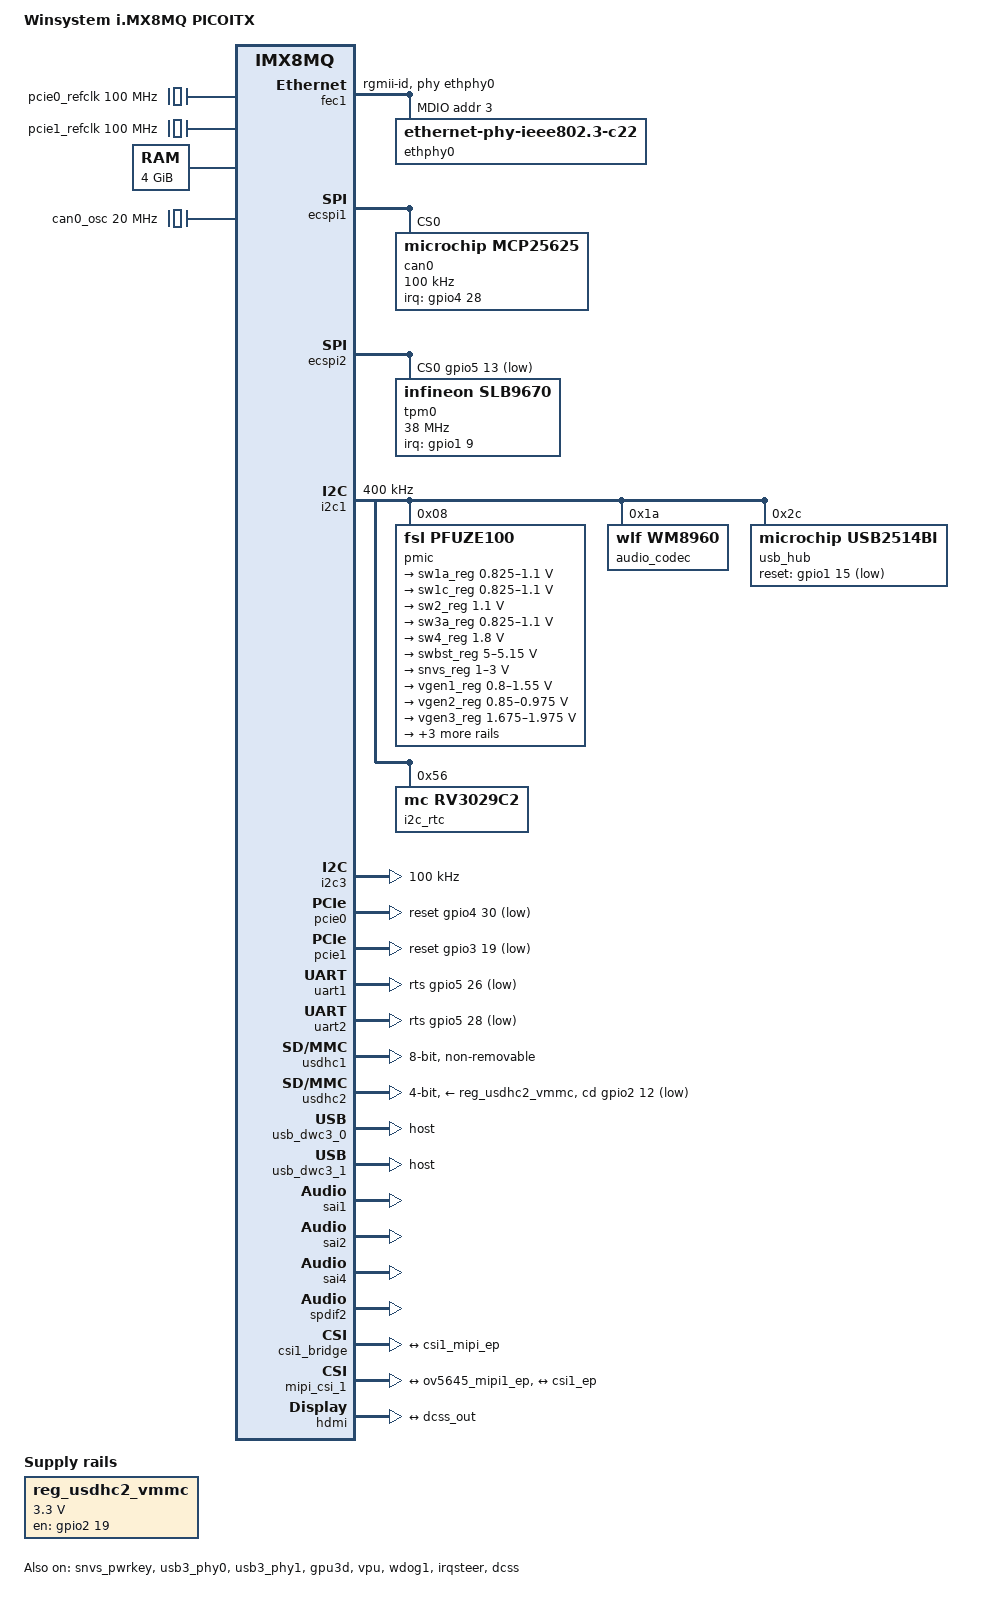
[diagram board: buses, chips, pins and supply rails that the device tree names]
/*
 * Copyright (C) 2016 Freescale Semiconductor, Inc.
 * Copyright 2017 NXP
 *
 * This program is free software; you can redistribute it and/or
 * modify it under the terms of the GNU General Public License
 * as published by the Free Software Foundation; either version 2
 * of the License, or (at your option) any later version.
 *
 * This program is distributed in the hope that it will be useful,
 * but WITHOUT ANY WARRANTY; without even the implied warranty of
 * MERCHANTABILITY or FITNESS FOR A PARTICULAR PURPOSE.  See the
 * GNU General Public License for more details.
 */

/dts-v1/;
#include <dt-bindings/usb/pd.h>
#include "imx8mq-itx-p-c444.dtsi"

/ {
        model = "Winsystem i.MX8MQ PICOITX";
        compatible = "fsl,imx8mq";


        dbg_console_settings: chosen {
                stdout-path = &uart1;
        };

        pcie0_refclk: pcie0-refclk {
                compatible = "fixed-clock";
                #clock-cells = <0>;
                clock-frequency = <100000000>;
        };

        pcie1_refclk: pcie0-refclk {
                compatible = "fixed-clock";
                #clock-cells = <0>;
                clock-frequency = <100000000>;
        };

	memory@40000000 {
		device_type = "memory";
		reg = <0x00000000 0x40000000 0x1 0x00000000>;
	};

	reserved-memory {
		#address-cells = <2>;
		#size-cells = <2>;
		ranges;

		rpmsg_reserved: rpmsg@0xb8000000 {
			no-map;
			reg = <0 0xb8000000 0 0x400000>;
		};
	};

	resmem: reserved-memory {
		#address-cells = <2>;
		#size-cells = <2>;
		/* cma region is provided by kernel command line as cma=<size>M */
		/delete-node/ linux,cma;
	};


//	Uncomment if using mcp251x on spi
	
        can0_osc: can0_osc {
                compatible = "fixed-clock";
                #clock-cells = <0>;
                clock-frequency  = <20000000>;
        };
	

        reg_usdhc2_vmmc: usdhc2_vmmc {
                pinctrl-names = "default";
                pinctrl-0 = <&pinctrl_reg_usdhc2>;
                compatible = "regulator-fixed";
                regulator-name = "VSD_3V3";
                regulator-min-microvolt = <3300000>;
                regulator-max-microvolt = <3300000>;
                gpio = <&gpio2 19 GPIO_ACTIVE_HIGH>;
                off-on-delay = <20000>;
                enable-active-high;
        };

        sound-wm8960 {
                compatible = "simple-audio-card";
                simple-audio-card,name = "wm8960-audio";
                simple-audio-card,format = "i2s";
                simple-audio-card,frame-master = <&cpudai>;
                simple-audio-card,bitclock-master = <&cpudai>;
                simple-audio-card,widgets =
                        "Line", "Line Out Jack",
			"Line", "Line in Jack",
			"Microphone", "Microphone Jack";

                simple-audio-card,routing =
                        "Line Out Jack", "HP_L",
                        "Line Out Jack", "HP_R",
			"Line in Jack", "LINPUT3",
			"Line in Jack", "RINPUT3",
			"Microphone Jack", "LINPUT2",
			"Microphone Jack", "RINPUT2";

                cpudai: simple-audio-card,cpu {
                        sound-dai = <&sai2>;
                        dai-tdm-slot-num = <2>;
                        dai-tdm-slot-width = <32>;
                };

                link_codec: simple-audio-card,codec {
                        sound-dai = <&audio_codec>;
                        clocks = <&clk IMX8MQ_CLK_SAI2_ROOT>;
                };
        };

};


&iomuxc {
        pinctrl-names = "default";
        pinctrl-0 = <&pinctrl_hog>;

        pinctrl_hog: hoggrp {
                fsl,pins = <
                        /* GPIO PINS for 8 pin GPIO connector */
                        MX8MQ_IOMUXC_GPIO1_IO00_GPIO1_IO0       0x19
                        MX8MQ_IOMUXC_GPIO1_IO01_GPIO1_IO1       0x19
                        MX8MQ_IOMUXC_GPIO1_IO03_GPIO1_IO3       0x19
                        MX8MQ_IOMUXC_GPIO1_IO05_GPIO1_IO5       0x19
                        MX8MQ_IOMUXC_GPIO1_IO06_GPIO1_IO6       0x19
                        MX8MQ_IOMUXC_GPIO1_IO07_GPIO1_IO7       0x19

                        /* STATUS LED */
                        MX8MQ_IOMUXC_SAI5_RXC_GPIO3_IO20        0x19
                        /* USER LED */
                        MX8MQ_IOMUXC_SPDIF_RX_GPIO5_IO4         0x19
                        MX8MQ_IOMUXC_GPIO1_IO10_GPIO1_IO10     0x19
                        MX8MQ_IOMUXC_GPIO1_IO11_GPIO1_IO11     0x19
                        MX8MQ_IOMUXC_GPIO1_IO14_GPIO1_IO14     0x19
                        MX8MQ_IOMUXC_SAI1_TXC_GPIO4_IO11        0x19

                >;
        };

        pinctrl_csi1_pwn: csi1_pwn_grp {
                fsl,pins = <
                        MX8MQ_IOMUXC_SAI5_MCLK_GPIO3_IO25       0x19
                >;
        };

        pinctrl_pmic: pmicgrp {
                fsl,pins = <
                        MX8MQ_IOMUXC_SAI1_MCLK_GPIO4_IO20       0x19
                >;
        };

        pinctrl_fec1: fec1grp {
                fsl,pins = <
                        MX8MQ_IOMUXC_ENET_MDC_ENET1_MDC         0x3
                        MX8MQ_IOMUXC_ENET_MDIO_ENET1_MDIO       0x23
                        MX8MQ_IOMUXC_ENET_TD3_ENET1_RGMII_TD3   0x1f
                        MX8MQ_IOMUXC_ENET_TD2_ENET1_RGMII_TD2   0x1f
                        MX8MQ_IOMUXC_ENET_TD1_ENET1_RGMII_TD1   0x1f
                        MX8MQ_IOMUXC_ENET_TD0_ENET1_RGMII_TD0   0x1f
                        MX8MQ_IOMUXC_ENET_RD3_ENET1_RGMII_RD3   0x91
                        MX8MQ_IOMUXC_ENET_RD2_ENET1_RGMII_RD2   0x91
                        MX8MQ_IOMUXC_ENET_RD1_ENET1_RGMII_RD1   0x91
                        MX8MQ_IOMUXC_ENET_RD0_ENET1_RGMII_RD0   0x91
                        MX8MQ_IOMUXC_ENET_TXC_ENET1_RGMII_TXC   0x1f
                        MX8MQ_IOMUXC_ENET_RXC_ENET1_RGMII_RXC   0x91
                        MX8MQ_IOMUXC_ENET_RX_CTL_ENET1_RGMII_RX_CTL 0x91
                        MX8MQ_IOMUXC_ENET_TX_CTL_ENET1_RGMII_TX_CTL 0x1f
                        MX8MQ_IOMUXC_SAI1_RXFS_GPIO4_IO0        0x19
                        MX8MQ_IOMUXC_SAI1_RXC_GPIO4_IO1         0x19
                >;
        };

        pinctrl_i2c1: i2c1grp {
                fsl,pins = <
                        MX8MQ_IOMUXC_I2C1_SCL_I2C1_SCL  0x4000007f
                        MX8MQ_IOMUXC_I2C1_SDA_I2C1_SDA  0x4000007f
                >;
        };

        pinctrl_i2c2: i2c2grp {
                fsl,pins = <
                        MX8MQ_IOMUXC_I2C2_SCL_I2C2_SCL  0x4000007f
                        MX8MQ_IOMUXC_I2C2_SDA_I2C2_SDA  0x4000007f
                >;
        };

        pinctrl_i2c3: i2c3grp {
                fsl,pins = <
                        MX8MQ_IOMUXC_I2C3_SCL_I2C3_SCL  0x4000007f
                        MX8MQ_IOMUXC_I2C3_SDA_I2C3_SDA  0x4000007f
                        /* I2C_GPIO_INT */
                        MX8MQ_IOMUXC_SAI3_TXFS_GPIO4_IO31       0x16
                >;
        };

        pinctrl_pcie0: pcie0grp {
                fsl,pins = <
                        MX8MQ_IOMUXC_I2C4_SCL_GPIO5_IO20        0x16
                        MX8MQ_IOMUXC_SAI3_RXC_GPIO4_IO29        0x16
                        MX8MQ_IOMUXC_SAI3_RXD_GPIO4_IO30        0x16
                        /* SMB_ALERT_N */
                        MX8MQ_IOMUXC_SAI3_TXD_GPIO5_IO1         0x16
                >;
        };

        pinctrl_pcie1: pcie1grp {
                fsl,pins = <
                        MX8MQ_IOMUXC_I2C4_SDA_GPIO5_IO21        0x16
                        MX8MQ_IOMUXC_SAI3_TXC_GPIO5_IO0         0x16
                        MX8MQ_IOMUXC_SAI5_RXFS_GPIO3_IO19       0x16
                        /* MPCIE_WAKE */
                        MX8MQ_IOMUXC_SAI1_TXFS_GPIO4_IO10       0x16
                >;
        };

        pinctrl_uart1: uart1grp {
                fsl,pins = <
                        MX8MQ_IOMUXC_UART1_RXD_UART1_DCE_RX     0x49
                        MX8MQ_IOMUXC_UART1_TXD_UART1_DCE_TX     0x49
			MX8MQ_IOMUXC_UART3_RXD_GPIO5_IO26	0x49
			MX8MQ_IOMUXC_UART3_TXD_GPIO5_IO27	0x49
                >;
        };

        pinctrl_uart2: uart2grp {
                fsl,pins = <
                        MX8MQ_IOMUXC_UART2_RXD_UART2_DCE_RX     0x49
                        MX8MQ_IOMUXC_UART2_TXD_UART2_DCE_TX     0x49
                        MX8MQ_IOMUXC_UART4_RXD_GPIO5_IO28       0x49
			MX8MQ_IOMUXC_UART4_TXD_GPIO5_IO29       0x49
                >;
        };

        pinctrl_serial1_gpio: serial1grpgpio {
                fsl,pins = <
                        MX8MQ_IOMUXC_NAND_CE2_B_GPIO3_IO3       0x59
                        MX8MQ_IOMUXC_NAND_CE3_B_GPIO3_IO4       0x19
                        MX8MQ_IOMUXC_NAND_DQS_GPIO3_IO14        0x19
                        MX8MQ_IOMUXC_NAND_RE_B_GPIO3_IO15       0x19
                        MX8MQ_IOMUXC_NAND_READY_B_GPIO3_IO16    0x19
                        MX8MQ_IOMUXC_NAND_WE_B_GPIO3_IO17       0x19
                        MX8MQ_IOMUXC_NAND_WP_B_GPIO3_IO18       0x19
                >;
        };


        pinctrl_serial2_gpio: serial2grpgpio {
                fsl,pins = <
                        MX8MQ_IOMUXC_NAND_DATA07_GPIO3_IO13     0x59
                        MX8MQ_IOMUXC_NAND_DATA06_GPIO3_IO12     0x19
                        MX8MQ_IOMUXC_NAND_DATA05_GPIO3_IO11     0x19
                        MX8MQ_IOMUXC_NAND_DATA04_GPIO3_IO10     0x19
                        MX8MQ_IOMUXC_NAND_DATA03_GPIO3_IO9      0x19
                        MX8MQ_IOMUXC_NAND_DATA02_GPIO3_IO8      0x19
                        MX8MQ_IOMUXC_NAND_DATA01_GPIO3_IO7      0x19
                >;
        };

        pinctrl_usdhc1: usdhc1grp {
                fsl,pins = <
                        MX8MQ_IOMUXC_SD1_CLK_USDHC1_CLK         0x83
                        MX8MQ_IOMUXC_SD1_CMD_USDHC1_CMD         0xc3
                        MX8MQ_IOMUXC_SD1_DATA0_USDHC1_DATA0     0xc3
                        MX8MQ_IOMUXC_SD1_DATA1_USDHC1_DATA1     0xc3
                        MX8MQ_IOMUXC_SD1_DATA2_USDHC1_DATA2     0xc3
                        MX8MQ_IOMUXC_SD1_DATA3_USDHC1_DATA3     0xc3
                        MX8MQ_IOMUXC_SD1_DATA4_USDHC1_DATA4     0xc3
                        MX8MQ_IOMUXC_SD1_DATA5_USDHC1_DATA5     0xc3
                        MX8MQ_IOMUXC_SD1_DATA6_USDHC1_DATA6     0xc3
                        MX8MQ_IOMUXC_SD1_DATA7_USDHC1_DATA7     0xc3
                        MX8MQ_IOMUXC_SD1_STROBE_USDHC1_STROBE   0x83
                        MX8MQ_IOMUXC_SD1_RESET_B_USDHC1_RESET_B 0xc1
                >;
        };

        pinctrl_usdhc1_100mhz: usdhc1grp100mhz {
                fsl,pins = <
                        MX8MQ_IOMUXC_SD1_CLK_USDHC1_CLK         0x85
                        MX8MQ_IOMUXC_SD1_CMD_USDHC1_CMD         0xc5
                        MX8MQ_IOMUXC_SD1_DATA0_USDHC1_DATA0     0xc5
                        MX8MQ_IOMUXC_SD1_DATA1_USDHC1_DATA1     0xc5
                        MX8MQ_IOMUXC_SD1_DATA2_USDHC1_DATA2     0xc5
                        MX8MQ_IOMUXC_SD1_DATA3_USDHC1_DATA3     0xc5
                        MX8MQ_IOMUXC_SD1_DATA4_USDHC1_DATA4     0xc5
                        MX8MQ_IOMUXC_SD1_DATA5_USDHC1_DATA5     0xc5
                        MX8MQ_IOMUXC_SD1_DATA6_USDHC1_DATA6     0xc5
                        MX8MQ_IOMUXC_SD1_DATA7_USDHC1_DATA7     0xc5
                        MX8MQ_IOMUXC_SD1_STROBE_USDHC1_STROBE   0x85
                        MX8MQ_IOMUXC_SD1_RESET_B_USDHC1_RESET_B 0xc1
                >;
        };

        pinctrl_usdhc1_200mhz: usdhc1grp200mhz {
                fsl,pins = <
                        MX8MQ_IOMUXC_SD1_CLK_USDHC1_CLK         0x87
                        MX8MQ_IOMUXC_SD1_CMD_USDHC1_CMD         0xc7
                        MX8MQ_IOMUXC_SD1_DATA0_USDHC1_DATA0     0xc7
                        MX8MQ_IOMUXC_SD1_DATA1_USDHC1_DATA1     0xc7
                        MX8MQ_IOMUXC_SD1_DATA2_USDHC1_DATA2     0xc7
                        MX8MQ_IOMUXC_SD1_DATA3_USDHC1_DATA3     0xc7
                        MX8MQ_IOMUXC_SD1_DATA4_USDHC1_DATA4     0xc7
                        MX8MQ_IOMUXC_SD1_DATA5_USDHC1_DATA5     0xc7
                        MX8MQ_IOMUXC_SD1_DATA6_USDHC1_DATA6     0xc7
                        MX8MQ_IOMUXC_SD1_DATA7_USDHC1_DATA7     0xc7
                        MX8MQ_IOMUXC_SD1_STROBE_USDHC1_STROBE   0x87
                        MX8MQ_IOMUXC_SD1_RESET_B_USDHC1_RESET_B 0xc1
                >;
        };
	pinctrl_reg_usdhc2: regusdhc2grpgpio {
		fsl,pins = <
			MX8MQ_IOMUXC_SD2_RESET_B_GPIO2_IO19             0x41
		>;
        };

        pinctrl_usdhc2_gpio: usdhc2cdgpio {
                fsl,pins = <
                        MX8MQ_IOMUXC_SD2_CD_B_GPIO2_IO12        0x41
                >;
        };

        pinctrl_usdhc2: usdhc2grp {
                fsl,pins = <
                        MX8MQ_IOMUXC_SD2_CLK_USDHC2_CLK         0x83
                        MX8MQ_IOMUXC_SD2_CMD_USDHC2_CMD         0xc3
                        MX8MQ_IOMUXC_SD2_DATA0_USDHC2_DATA0     0xc3
                        MX8MQ_IOMUXC_SD2_DATA1_USDHC2_DATA1     0xc3
                        MX8MQ_IOMUXC_SD2_DATA2_USDHC2_DATA2     0xc3
                        MX8MQ_IOMUXC_SD2_DATA3_USDHC2_DATA3     0xc3
                        MX8MQ_IOMUXC_GPIO1_IO04_USDHC2_VSELECT  0xc1
                >;
        };

        pinctrl_usdhc2_100mhz: usdhc2grp100mhz {
                fsl,pins = <
                        MX8MQ_IOMUXC_SD2_CLK_USDHC2_CLK         0x85
                        MX8MQ_IOMUXC_SD2_CMD_USDHC2_CMD         0xc5
                        MX8MQ_IOMUXC_SD2_DATA0_USDHC2_DATA0     0xc5
                        MX8MQ_IOMUXC_SD2_DATA1_USDHC2_DATA1     0xc5
                        MX8MQ_IOMUXC_SD2_DATA2_USDHC2_DATA2     0xc5
                        MX8MQ_IOMUXC_SD2_DATA3_USDHC2_DATA3     0xc5
                        MX8MQ_IOMUXC_GPIO1_IO04_USDHC2_VSELECT  0xc1
                >;
        };

        pinctrl_usdhc2_200mhz: usdhc2grp200mhz {
                fsl,pins = <
                        MX8MQ_IOMUXC_SD2_CLK_USDHC2_CLK         0x87
                        MX8MQ_IOMUXC_SD2_CMD_USDHC2_CMD         0xc7
                        MX8MQ_IOMUXC_SD2_DATA0_USDHC2_DATA0     0xc7
                        MX8MQ_IOMUXC_SD2_DATA1_USDHC2_DATA1     0xc7
                        MX8MQ_IOMUXC_SD2_DATA2_USDHC2_DATA2     0xc7
                        MX8MQ_IOMUXC_SD2_DATA3_USDHC2_DATA3     0xc7
                        MX8MQ_IOMUXC_GPIO1_IO04_USDHC2_VSELECT  0xc1
                >;
        };

        pinctrl_sai1: sai1grp {
                fsl,pins = <
                        MX8MQ_IOMUXC_SAI1_TXD0_SAI1_TX_DATA0    0xd6
                        MX8MQ_IOMUXC_SAI1_TXD1_SAI1_TX_DATA1    0xd6
                        MX8MQ_IOMUXC_SAI1_TXD2_SAI1_TX_DATA2    0xd6
                        MX8MQ_IOMUXC_SAI1_TXD3_SAI1_TX_DATA3    0xd6
                        MX8MQ_IOMUXC_SAI1_TXD4_SAI1_TX_DATA4    0xd6
                        MX8MQ_IOMUXC_SAI1_TXD5_SAI1_TX_DATA5    0xd6
                        MX8MQ_IOMUXC_SAI1_TXD6_SAI1_TX_DATA6    0xd6
                        MX8MQ_IOMUXC_SAI1_TXD7_SAI1_TX_DATA7    0xd6
                        MX8MQ_IOMUXC_SAI1_RXD0_SAI1_RX_DATA0    0xd6
                        MX8MQ_IOMUXC_SAI1_RXD1_SAI1_RX_DATA1    0xd6
                        MX8MQ_IOMUXC_SAI1_RXD2_SAI1_RX_DATA2    0xd6
                        MX8MQ_IOMUXC_SAI1_RXD3_SAI1_RX_DATA3    0xd6
                        MX8MQ_IOMUXC_SAI1_RXD4_SAI1_RX_DATA4    0xd6
                        MX8MQ_IOMUXC_SAI1_RXD5_SAI1_RX_DATA5    0xd6
                        MX8MQ_IOMUXC_SAI1_RXD6_SAI1_RX_DATA6    0xd6
                        MX8MQ_IOMUXC_SAI1_RXD7_SAI1_RX_DATA7    0xd6
                >;
        };

        pinctrl_sai2: sai2grp {
                fsl,pins = <
                        MX8MQ_IOMUXC_SAI2_TXFS_SAI2_TX_SYNC     0xd6
                        MX8MQ_IOMUXC_SAI2_TXC_SAI2_TX_BCLK      0xd6
                        MX8MQ_IOMUXC_SAI2_MCLK_SAI2_MCLK        0xd6
                        MX8MQ_IOMUXC_SAI2_TXD0_SAI2_TX_DATA0    0xd6
                        MX8MQ_IOMUXC_SAI2_RXD0_SAI2_RX_DATA0    0xd6
                        MX8MQ_IOMUXC_SAI2_RXFS_SAI2_RX_SYNC     0xd6
                >;
        };

        pinctrl_wdog: wdoggrp {
                fsl,pins = <
                        MX8MQ_IOMUXC_GPIO1_IO02_WDOG1_WDOG_B 0xc6
                >;
        };

        pinctrl_ecspi1: ecspi1grp {
                fsl,pins = <
                        MX8MQ_IOMUXC_ECSPI1_MISO_ECSPI1_MISO    0x16
                        MX8MQ_IOMUXC_ECSPI1_MOSI_ECSPI1_MOSI    0x16
                        MX8MQ_IOMUXC_ECSPI1_SCLK_ECSPI1_SCLK    0x16
                        MX8MQ_IOMUXC_ECSPI1_SS0_ECSPI1_SS0      0x19
                        MX8MQ_IOMUXC_SAI3_RXFS_GPIO4_IO28       0x16
                >;
        };

	pinctrl_ecspi2: ecspi2grp {
		fsl,pins = <
			MX8MQ_IOMUXC_ECSPI2_MOSI_ECSPI2_MOSI	0x19
			MX8MQ_IOMUXC_ECSPI2_MISO_ECSPI2_MISO	0x19
			MX8MQ_IOMUXC_ECSPI2_SCLK_ECSPI2_SCLK	0x19
			MX8MQ_IOMUXC_ECSPI2_SS0_GPIO5_IO13	0x19
			/* GPIO_PIRQ */
			MX8MQ_IOMUXC_GPIO1_IO09_GPIO1_IO9	0x17059
			/* GPIO_RST */
			MX8MQ_IOMUXC_GPIO1_IO08_GPIO1_IO8	0x59
		>;
	};

        pinctrl_usb3: usb3grp {
                fsl,pins = <
                        /* USB3.0_PWR_EN */
                        MX8MQ_IOMUXC_GPIO1_IO12_GPIO1_IO12      0x59
                        /* USB_3.0_OC */
                        MX8MQ_IOMUXC_GPIO1_IO13_GPIO1_IO13      0x16
                >;
        };

        pinctrl_usb_hub: usbhubgrp {
                fsl,pins = <
                        /* USB_HUB_EN */
                        MX8MQ_IOMUXC_GPIO1_IO15_GPIO1_IO15      0x59
                >;
        };
};

enet_phy: &fec1 {
        pinctrl-names = "default";
        pinctrl-0 = <&pinctrl_fec1>;
        phy-mode = "rgmii-id";
        phy-handle = <&ethphy0>;
        fsl,magic-packet;
        status = "okay";

        mdio {
                #address-cells = <1>;
                #size-cells = <0>;

                ethphy0: ethernet-phy@3 {
                        compatible = "ethernet-phy-ieee802.3-c22";
                        reg = <3>;
                };
        };
};

spi: &ecspi1 {
	#address-cells = <1>;
	#size-cells = <0>;
        fsl,spi-num-chipselects = <1>;
	//cs-gpios = <&gpio5 9 GPIO_ACTIVE_HIGH>;
        pinctrl-names = "default";
        pinctrl-0 = <&pinctrl_ecspi1>;
        status = "okay";
	
        can0: can@0 {
		#address-cells = <1>;
                #size-cells = <1>;
                reg = <0>;
                compatible = "microchip,mcp25625";
                spi-max-frequency = <100000>;
                interrupt-parent = <&gpio4>;
                interrupts = <28 0x2>;
                clocks = <&can0_osc>;
		status = "okay";
        };
	
	
};

tpm_dev: &ecspi2 {
	#address-cells = <1>;
	#size-cells = <0>;
        fsl,spi-num-chipselects = <1>;
	cs-gpios = <&gpio5 13 GPIO_ACTIVE_LOW>;
	pinctrl-names = "default";
	pinctrl-0 = <&pinctrl_ecspi2>;
	status = "okay";
	tpm0: slb9670@0 {
		compatible = "infineon,slb9670";
		#address-cells = <1>;
                #size-cells = <1>;
		reg = <0>;
		spi-max-frequency = <38000000>;
		interrupt-parent = <&gpio1>;
		interrupts = <9 IRQ_TYPE_LEVEL_LOW>;
		status = "okay";
	};
};

&i2c1 {
        clock-frequency = <400000>;
        pinctrl-names = "default";
        pinctrl-0 = <&pinctrl_i2c1>;
        status = "okay";

        pmic: pfuze100@8 {
                compatible = "fsl,pfuze100";
                pinctrl-names = "default";
                pinctrl-0 = <&pinctrl_pmic>;
                reg = <0x08>;

                regulators {
                        sw1a_reg: sw1ab {
                                regulator-min-microvolt = <825000>;
                                regulator-max-microvolt = <1100000>;
                        };

                        sw1c_reg: sw1c {
                                regulator-min-microvolt = <825000>;
                                regulator-max-microvolt = <1100000>;
                        };

                        sw2_reg: sw2 {
                                regulator-min-microvolt = <1100000>;
                                regulator-max-microvolt = <1100000>;
                                regulator-always-on;
                        };

                        sw3a_reg: sw3ab {
                                regulator-min-microvolt = <825000>;
                                regulator-max-microvolt = <1100000>;
                                regulator-always-on;
                        };

                        sw4_reg: sw4 {
                                regulator-min-microvolt = <1800000>;
                                regulator-max-microvolt = <1800000>;
                                regulator-always-on;
                        };

                        swbst_reg: swbst {
                                regulator-min-microvolt = <5000000>;
                                regulator-max-microvolt = <5150000>;
                        };

                        snvs_reg: vsnvs {
                                regulator-min-microvolt = <1000000>;
                                regulator-max-microvolt = <3000000>;
                                regulator-always-on;
                        };

                        vref_reg: vrefddr {
                                regulator-always-on;
                        };

                        vgen1_reg: vgen1 {
                                regulator-min-microvolt = <800000>;
                                regulator-max-microvolt = <1550000>;
                        };

                        vgen2_reg: vgen2 {
                                regulator-min-microvolt = <850000>;
                                regulator-max-microvolt = <975000>;
                                regulator-always-on;
                        };

                        vgen3_reg: vgen3 {
                                regulator-min-microvolt = <1675000>;
                                regulator-max-microvolt = <1975000>;
                                regulator-always-on;
                        };

                        vgen4_reg: vgen4 {
                                regulator-min-microvolt = <1625000>;
                                regulator-max-microvolt = <1875000>;
                                regulator-always-on;
                        };

                        vgen5_reg: vgen5 {
                                regulator-min-microvolt = <3075000>;
                                regulator-max-microvolt = <3625000>;
                                regulator-always-on;
                        };

                        vgen6_reg: vgen6 {
                                regulator-min-microvolt = <1800000>;
                                regulator-max-microvolt = <3300000>;
                        };
                };
        };

        audio_codec: wm8960@1a {
		#sound-dai-cells = <0>;
                compatible = "wlf,wm8960";
                reg = <0x1a>;
                wlf,shared-lrclk;
        };

        usb_hub: usb2514bi@2c {
                compatible = "microchip,usb2514bi";
                pinctrl-names = "default";
                pinctrl-0 = <&pinctrl_usb_hub>;
                reset-gpios = <&gpio1 15 GPIO_ACTIVE_LOW>;
                reg = <0x2c>;
        };

	i2c_rtc: rtc@56 {
                compatible = "mc,rv3029c2";
                reg = <0x56>;
        };

};

&i2c2 {
        clock-frequency = <100000>;
        pinctrl-names = "default";
        pinctrl-0 = <&pinctrl_i2c2>;
        status = "disabled";
};

&i2c3 {
        clock-frequency = <100000>;
        pinctrl-names = "default";
        pinctrl-0 = <&pinctrl_i2c3>;
        status = "okay";

        ov5645_mipi: ov5645_mipi@3c {
                compatible = "ovti,ov5645";
                reg = <0x3c>;
                clocks = <&clk 200>;
                clock-names = "xclk";
                clock-frequency = <23880000>;
                pinctrl-names = "default";
                pinctrl-0 = <&pinctrl_csi1_pwn>;
                reset-gpios = <&gpio3 25 GPIO_ACTIVE_LOW>;
		status = "disabled";
                port {
                        ov5645_mipi1_ep: endpoint {
                                clock-lanes = <1>;
                                data-lanes = <0 2>;
                                remote-endpoint = <&mipi1_sensor_ep>;
                        };
                };
        };
};

i210_enet_controller: &pcie0{
        pinctrl-names = "default";
        pinctrl-0 = <&pinctrl_pcie0>;
        clkreq-gpio = <&gpio5 20 GPIO_ACTIVE_LOW>;
        disable-gpio = <&gpio4 29 GPIO_ACTIVE_LOW>;
        reset-gpio = <&gpio4 30 GPIO_ACTIVE_LOW>;
        clocks = <&clk IMX8MQ_CLK_PCIE1_ROOT>,
                 <&clk IMX8MQ_CLK_PCIE1_AUX>,
                 <&clk IMX8MQ_CLK_PCIE1_PHY>,
                 <&pcie0_refclk>;
        clock-names = "pcie", "pcie_aux", "pcie_phy", "pcie_bus";
        hard-wired = <1>;
        status = "okay";
};

mini_pcie_intf: &pcie1{
        pinctrl-names = "default";
        pinctrl-0 = <&pinctrl_pcie1>;
        clkreq-gpio = <&gpio5 21 GPIO_ACTIVE_LOW>;
        disable-gpio = <&gpio5 0 GPIO_ACTIVE_LOW>;
        reset-gpio = <&gpio3 19 GPIO_ACTIVE_LOW>;
        clocks = <&clk IMX8MQ_CLK_PCIE2_ROOT>,
                 <&clk IMX8MQ_CLK_PCIE2_AUX>,
                 <&clk IMX8MQ_CLK_PCIE2_PHY>,
                 <&pcie1_refclk>;
        clock-names = "pcie", "pcie_aux", "pcie_phy", "pcie_bus";
        status = "okay";
};

&pgc_gpu {
        power-supply = <&sw1a_reg>;
};

&pgc_vpu {
        power-supply = <&sw1c_reg>;
};

&snvs_pwrkey {
        status = "okay";
};

multi_protocol_serial2: &uart1 {
	pinctrl-names = "default";
	pinctrl-0 = <&pinctrl_uart1>, <&pinctrl_serial2_gpio>;
	assigned-clocks = <&clk IMX8MQ_CLK_UART1>;
	assigned-clock-parents = <&clk IMX8MQ_CLK_25M>;
	cts-gpios = <&gpio5 27 GPIO_ACTIVE_LOW>;
	rts-gpios = <&gpio5 26 GPIO_ACTIVE_LOW>;
	status = "okay";
};

multi_protocol_serial1: &uart2 {
        pinctrl-names = "default";
        pinctrl-0 = <&pinctrl_uart2>, <&pinctrl_serial1_gpio>;
        assigned-clocks = <&clk IMX8MQ_CLK_UART2>;
        assigned-clock-parents = <&clk IMX8MQ_CLK_25M>;
	cts-gpios = <&gpio5 29 GPIO_ACTIVE_LOW>;
	rts-gpios = <&gpio5 28 GPIO_ACTIVE_LOW>;
        status = "okay";
};

emmc: &usdhc1 {
        pinctrl-names = "default", "state_100mhz", "state_200mhz";
        pinctrl-0 = <&pinctrl_usdhc1>;
        pinctrl-1 = <&pinctrl_usdhc1_100mhz>;
        pinctrl-2 = <&pinctrl_usdhc1_200mhz>;
        vqmmc-supply = <&sw4_reg>;
        bus-width = <8>;
        non-removable;
        no-sd;
        no-sdio;
        status = "okay";
};

micro_sd: &usdhc2 {
        pinctrl-names = "default", "state_100mhz", "state_200mhz";
        pinctrl-0 = <&pinctrl_usdhc2>, <&pinctrl_usdhc2_gpio>;
        pinctrl-1 = <&pinctrl_usdhc2_100mhz>, <&pinctrl_usdhc2_gpio>;
        pinctrl-2 = <&pinctrl_usdhc2_200mhz>, <&pinctrl_usdhc2_gpio>;
        bus-width = <4>;
        cd-gpios = <&gpio2 12 GPIO_ACTIVE_LOW>;
        vmmc-supply = <&reg_usdhc2_vmmc>;
        status = "okay";
};

&usb3_phy0 {
        status = "okay";
};

usb_3: &usb_dwc3_0 {
        pinctrl-names = "default";
        pinctrl-0 = <&pinctrl_usb3>;
        snps,dis-u1-entry-quirk;
        snps,dis-u2-entry-quirk;
        status = "okay";
        dr_mode = "host";
};

&usb3_phy1 {
        status = "okay";
};

&usb_dwc3_1 {
        status = "okay";
        dr_mode = "host";
};

&sai1 {
        pinctrl-names = "default";
        pinctrl-0 = <&pinctrl_sai1>;
        assigned-clocks = <&clk IMX8MQ_CLK_SAI1>;
        assigned-clock-parents = <&clk IMX8MQ_AUDIO_PLL1_OUT>;
        assigned-clock-rates = <49152000>;
        clocks = <&clk IMX8MQ_CLK_SAI1_IPG>, <&clk IMX8MQ_CLK_DUMMY>,
                <&clk IMX8MQ_CLK_SAI1_ROOT>, <&clk IMX8MQ_CLK_DUMMY>,
                <&clk IMX8MQ_CLK_DUMMY>, <&clk IMX8MQ_AUDIO_PLL1_OUT>,
                <&clk IMX8MQ_AUDIO_PLL2_OUT>;
        clock-names = "bus", "mclk0", "mclk1", "mclk2", "mclk3", "pll8k", "pll11k";
        status = "okay";
};

&sai2 {
        pinctrl-names = "default";
        pinctrl-0 = <&pinctrl_sai2>;
        assigned-clocks = <&clk IMX8MQ_CLK_SAI2>;
        assigned-clock-parents = <&clk IMX8MQ_AUDIO_PLL1_OUT>;
        assigned-clock-rates = <24576000>;
        status = "okay";
};

&sai4 {
        assigned-clocks = <&clk IMX8MQ_CLK_SAI4>;
        assigned-clock-parents = <&clk IMX8MQ_AUDIO_PLL1_OUT>;
        assigned-clock-rates = <24576000>;
        clocks = <&clk IMX8MQ_CLK_SAI4_IPG>, <&clk IMX8MQ_CLK_DUMMY>,
                <&clk IMX8MQ_CLK_SAI4_ROOT>, <&clk IMX8MQ_CLK_DUMMY>,
                <&clk IMX8MQ_CLK_DUMMY>, <&clk IMX8MQ_AUDIO_PLL1_OUT>,
                <&clk IMX8MQ_AUDIO_PLL2_OUT>;
        clock-names = "bus", "mclk0", "mclk1", "mclk2", "mclk3", "pll8k", "pll11k";
        status = "okay";
};

&spdif2 {
        assigned-clocks = <&clk IMX8MQ_CLK_SPDIF2>;
        assigned-clock-parents = <&clk IMX8MQ_AUDIO_PLL1_OUT>;
        assigned-clock-rates = <24576000>;
        status = "okay";
};

&gpu3d {
        status = "okay";
};

&vpu {
        status = "okay";
};

&wdog1 {
        pinctrl-names = "default";
        pinctrl-0 = <&pinctrl_wdog>;
        fsl,ext-reset-output;
	timeout-sec = <60>;
        status = "okay";
};

&irqsteer {
        status = "okay";
};

&dcss {
        status = "okay";

        port@0 {
                dcss_out: endpoint {
                          remote-endpoint = <&hdmi_in>;
                };
        };
};

camera_bridge: &csi1_bridge {
        fsl,mipi-mode;
        fsl,two-8bit-sensor-mode;
        status = "okay";

        port {
                csi1_ep: endpoint {
                        remote-endpoint = <&csi1_mipi_ep>;
                };
        };
};

camera: &mipi_csi_1 {
        #address-cells = <1>;
        #size-cells = <0>;
        status = "okay";
        port {
                mipi1_sensor_ep: endpoint@0 {
                        remote-endpoint = <&ov5645_mipi1_ep>;
                        data-lanes = <1 2>;
                };

                csi1_mipi_ep: endpoint@1 {
                        remote-endpoint = <&csi1_ep>;
                };
        };
};


&hdmi {
        compatible = "cdn,imx8mq-hdmi";
        lane-mapping = <0xe4>;
        status = "okay";
        port@1 {
                hdmi_in: endpoint {
                        remote-endpoint = <&dcss_out>;
                };
        };
};

&CPU_SLEEP {
	/* We are not using GPC for now, need set 0 to avoid hang */
	arm,psci-suspend-param = <0x0>;
};

&{/busfreq} {
        /* Disable busfreq, to avoid 1st Linux busfreq crash other inmates */
        status = "disabled";
};


/ {
        interrupt-parent = <&gic>;
};

